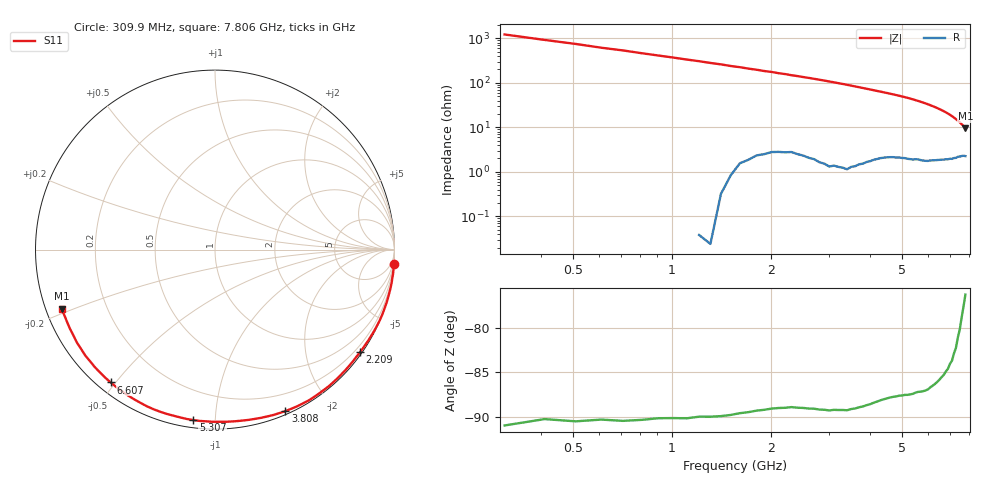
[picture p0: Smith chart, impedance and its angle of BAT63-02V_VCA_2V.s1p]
! Infineon Technologies  Discrete & RF Semiconductors
! BAT63-02V
! VCA = 2 V
! One-Port S-Parameters
# Hz  S  MA  R  50
!f  S11
!Hz  Mag  Ang
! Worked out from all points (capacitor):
!   76 points, 309.9 MHz to 7.806 GHz, reference 50 ohm
!   read as one part to ground: C = 423 fF near 309.9 MHz
!   lowest |Z| = 9.54 ohm at 7.806 GHz (marker M1)
!   S11 on the Smith chart (normalised r, x): 309.9 MHz: -0, -24; 2.209 GHz: 0.05, -3.14; 3.808 GHz: 0.03, -1.53; 5.307 GHz: 0.04, -0.88; 6.607 GHz: 0.04, -0.49; 7.806 GHz: 0.05, -0.19
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3.0985e8  1.001 -4.7
8.096e8  1.001 -12.4
1.30935e9  1 -20.3
1.6092e9  0.997 -25.2
1.90905e9  0.9931 -30.5
2.009e9  0.9917 -31.9
2.2089e9  0.9899 -35.3
2.30885e9  0.9886 -37.4
2.6087e9  0.9892 -42.5
2.8086e9  0.9899 -46.2
3.0085e9  0.9906 -50.1
3.2084e9  0.9894 -54.1
3.4083e9  0.9893 -58.1
3.8081e9  0.9818 -66.4
4.10795e9  0.9742 -72.6
4.4078e9  0.9671 -78.7
4.6077e9  0.9633 -82.7
5.0075e9  0.9594 -90.7
5.30735e9  0.9575 -97.2
5.70715e9  0.954 -106.3
6.007e9  0.952 -113.3
6.30685e9  0.9464 -120.7
6.6067e9  0.9409 -128.2
6.90655e9  0.9365 -135.7
7.10645e9  0.9329 -140.9
7.30635e9  0.9273 -146.2
7.50625e9  0.9206 -151.3
7.8061e9  0.9163 -159.0
